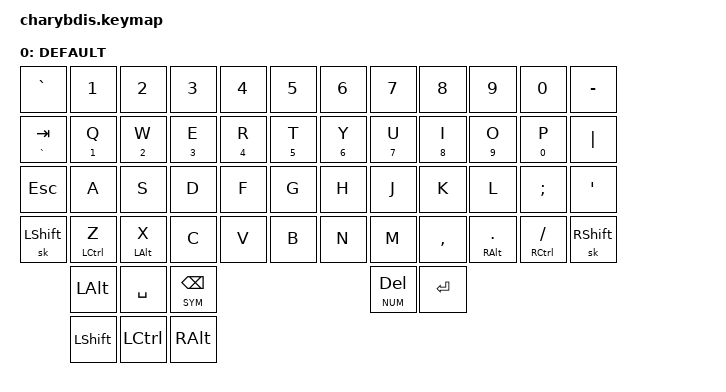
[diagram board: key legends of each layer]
#include <behaviors.dtsi>
#include <dt-bindings/zmk/keys.h>
#include <dt-bindings/zmk/bt.h>
#include <dt-bindings/zmk/ext_power.h>
#include <dt-bindings/zmk/mouse.h>
#include <dt-bindings/zmk/outputs.h>

#define DEF 0
#define WIN 1
#define SWP 2
#define SYM 3
#define NUM 4
#define ADJ 5
#define QUICK_TAP_MS 175

&sk {
    release-after-ms = <600>;
    quick-release;
};

/ {
    // trackball_listener {
    //     compatible = "zmk,input-behavior-listener";
    //     device = <&vtrackball>;
    //     layers = <0>;
    //     evt-type = <INPUT_EV_REL>;
    //     x-input-code = <INPUT_REL_X>;
    //     y-input-code = <INPUT_REL_Y>;
    //     scale-multiplier = <1>;
    //     scale-divisor = <6>;
    // };

    // trackball_snipe_listener {
    //     compatible = "zmk,input-behavior-listener";   
    //     device = <&vtrackball>;
    //     layers = <1>;
    //     evt-type = <INPUT_EV_REL>;
    //     x-input-code = <INPUT_REL_X>;
    //     y-input-code = <INPUT_REL_Y>;
    //     scale-multiplier = <1>;
    //     scale-divisor = <16>;
    // };

    // trackball_scroll_listener {
    //     compatible = "zmk,input-behavior-listener";
    //     device = <&vtrackball>;
    //     layers = <2>;
    //     evt-type = <INPUT_EV_REL>;            
    //     x-input-code = <INPUT_REL_MISC>;
    //     y-input-code = <INPUT_REL_WHEEL>;
    //     y-invert;
    //     bindings = <&ib_wheel_scaler 1 8>;
    // };

    // ib_wheel_scaler: ib_wheel_scaler {
    //     compatible = "zmk,input-behavior-scaler";
    //     #binding-cells = <2>;
    //     evt-type = <INPUT_EV_REL>;
    //     input-code = <INPUT_REL_WHEEL>;
    // };

    behaviors {
        lt_qk: layer_toggle_quick {
            compatible = "zmk,behavior-hold-tap";
            #binding-cells = <2>;
            flavor = "tap-preferred";
            tapping-term-ms = <150>;
            quick-tap-ms = <QUICK_TAP_MS>;
            bindings = <&mo>, <&kp>;
        };

        mt_sk: mod_tap_sticky {
            compatible = "zmk,behavior-hold-tap";
            #binding-cells = <2>;
            flavor = "tap-preferred";
            tapping-term-ms = <150>;
            quick-tap-ms = <200>;
            bindings = <&sk>, <&kp>;
        };

        ht: hold_tap {
            compatible = "zmk,behavior-hold-tap";
            #binding-cells = <2>;
            tapping-term-ms = <200>;
            quick-tap-ms = <200>;
            flavor = "tap-preferred";
            bindings = <&kp>, <&kp>;
        };

        lswp: left_swp {
            compatible = "zmk,behavior-tap-dance";
            #binding-cells = <0>;
            tapping-term-ms = <200>;
            bindings = <&sk LGUI>, <&mo 2>, <&tog 2>;
        };

        rswp: right_swap {
            compatible = "zmk,behavior-tap-dance";
            #binding-cells = <0>;
            tapping-term-ms = <200>;
            bindings = <&sk RGUI>, <&mo 2>, <&tog 2>;
        };
    };
    keymap {
        compatible = "zmk,keymap";

        default_layer {
            display-name = "DEFAULT";
            bindings = <
&kp GRAVE      &kp N1          &kp N2         &kp N3           &kp N4        &kp N5        &kp N6    &kp N7         &kp N8          &kp N9           &kp N0             &kp MINUS
&ht GRAVE TAB  &ht N1 Q        &ht N2 W       &ht N3 E         &ht N4 R      &ht N5 T      &ht N6 Y  &ht N7 U       &ht N8 I        &ht N9 O         &ht N0 P           &kp PIPE
&kp ESC        &kp A           &kp S          &kp D            &kp F         &kp G         &kp H     &kp J          &kp K           &kp L            &kp SEMI           &kp SQT
&sk LSHFT      &mt_sk LCTRL Z  &mt_sk LALT X  &kp C            &kp V         &kp B         &kp N     &kp M          &kp COMMA       &mt_sk RALT DOT  &mt_sk RCTRL FSLH  &sk RSHFT
            &kp LALT           &kp SPACE      &lt_qk SYM BSPC                                           &lt_qk NUM DEL  &kp RET          
        &kp LSHIFT &kp LCTRL &kp RALT
            >;
        };
    };
};
